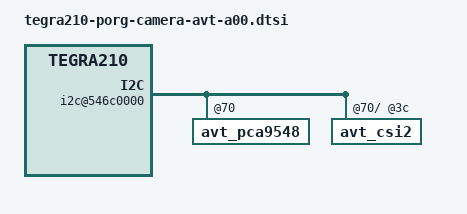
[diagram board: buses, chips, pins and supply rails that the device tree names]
/*
 * Copyright (C) 2012 - 2019 Allied Vision Technologies.  All Rights Reserved.
 *
 * This program is free software; you may redistribute it and/or modify
 * it under the terms of the GNU General Public License as published by
 * the Free Software Foundation; version 2 of the License.

 * THE SOFTWARE IS PRELIMINARY AND STILL IN TESTING AND VERIFICATION PHASE AND IS PROVIDED ON AN “AS IS” AND “AS AVAILABLE” BASIS AND IS BELIEVED TO CONTAIN DEFECTS.
 * A PRIMARY PURPOSE OF THIS EARLY ACCESS IS TO OBTAIN FEEDBACK ON PERFORMANCE AND THE IDENTIFICATION OF DEFECT SOFTWARE, HARDWARE AND DOCUMENTATION.

 * THE SOFTWARE IS PROVIDED "AS IS", WITHOUT WARRANTY OF ANY KIND,
 * EXPRESS OR IMPLIED, INCLUDING BUT NOT LIMITED TO THE WARRANTIES OF
 * MERCHANTABILITY, FITNESS FOR A PARTICULAR PURPOSE AND
 * NONINFRINGEMENT. IN NO EVENT SHALL THE AUTHORS OR COPYRIGHT HOLDERS
 * BE LIABLE FOR ANY CLAIM, DAMAGES OR OTHER LIABILITY, WHETHER IN AN
 * ACTION OF CONTRACT, TORT OR OTHERWISE, ARISING FROM, OUT OF OR IN
 * CONNECTION WITH THE SOFTWARE OR THE USE OR OTHER DEALINGS IN THE
 * SOFTWARE.
 */

#include "tegra210-camera-avt.dtsi"

/ {
    host1x {
		i2c@546c0000 {
			avt_pca9548@70 {
				status = "okay";
				i2c@2 {
					status = "okay";
					avt_csi2@3c {
						status = "okay";
					};
				};
			};
		};
	};
};
